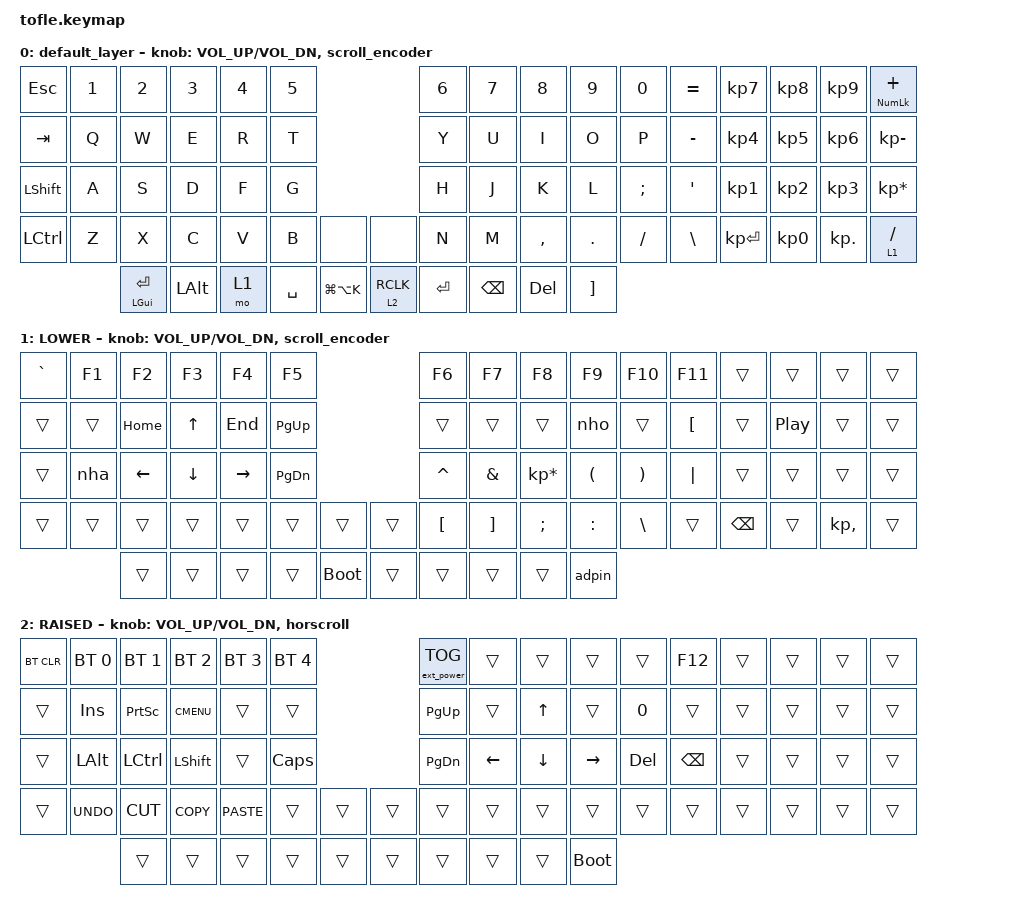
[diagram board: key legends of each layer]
/*
 * Copyright (c) 2020 The ZMK Contributors
 *
 * SPDX-License-Identifier: MIT
 */

#include <behaviors/mouse_keys.dtsi>
#include <behaviors.dtsi>
#include <dt-bindings/zmk/bt.h>
#include <dt-bindings/zmk/ext_power.h>
#include <dt-bindings/zmk/keys.h>
#include <dt-bindings/zmk/mouse.h>

#define DEF 0;
#define UPE 1;
#define MSC 2;
#define ZMK_MOUSE_DEFAULT_SCRL_VAL 5

&left_encoder { steps = <48>; };

&right_encoder { steps = <48>; };

&sensors { triggers-per-rotation = <12>; };

&msc { acceleration-exponent = <1>; };

/ {
    macros {
        nha: nha {
            compatible = "zmk,behavior-macro";
            label = "NHA";
            #binding-cells = <0>;
            bindings = <&kp TILDE &kp A>;
        };

        nho: nho {
            compatible = "zmk,behavior-macro";
            label = "NHO";
            #binding-cells = <0>;
            bindings = <&kp TILDE &kp O>;
        };

        adpin: adpin {
            compatible = "zmk,behavior-macro";
            label = "ADPIN";
            #binding-cells = <0>;
            bindings = <&kp N7 &kp N9 &kp N4 &kp N5 &kp N1 &kp N7>;
        };
    };

    behaviors {
        scroll_encoder: scroll_encoder {
            label = "SCROLL_ENCODER";
            compatible = "zmk,behavior-sensor-rotate";
            #sensor-binding-cells = <0>;
            bindings = <&msc MOVE_UP>, <&msc MOVE_DOWN>;

            tap-ms = <50>;
        };

        rc_lt: right_click_layer_tap {
            compatible = "zmk,behavior-hold-tap";
            #binding-cells = <2>;
            flavor = "hold-preferred";
            tapping-term-ms = <200>;
            bindings = <&mo>, <&mkp>;
        };

        horscroll: horscroll {
            compatible = "zmk,behavior-sensor-rotate";
            label = "HORSCROLL";
            #sensor-binding-cells = <0>;
            bindings = <&msc MOVE_LEFT>, <&msc MOVE_RIGHT>;

            tap-ms = <50>;
        };
    };

    keymap {
        compatible = "zmk,keymap";
        display-name = "DEFAULT";

        default_layer {
            // ------------------------------------------------------------------------------------------------------------
            // |  `    |  1  |  2  |  3   |  4   |  5   |                   |  6   |  7    |  8    |  9   |   0   |       |
            // |  ESC  |  Q  |  W  |  E   |  R   |  T   |                   |  Y   |  U    |  I    |  O   |   P   | BKSPC |
            // |  TAB  |  A  |  S  |  D   |  F   |  G   |                   |  H   |  J    |  K    |  L   |   ;   |   '   |
            // | SHIFT |  Z  |  X  |  C   |  V   |  B   |  MUTE  |  |       |  N   |  M    |  ,    |  .   |   /   | SHIFT |
            //               | GUI | ALT  | CTRL | LOWER|  ENTER |  | SPACE | RAISE| CTRL  | ALT   | GUI  |

            bindings = <
&kp ESC     &kp N1  &kp N2        &kp N3    &kp N4  &kp N5                                   &kp N6   &kp N7         &kp N8     &kp N9             &kp N0    &kp EQUAL      &kp KP_N7     &kp KP_N8  &kp KP_N9        &mt KP_NUMLOCK PLUS
&kp TAB     &kp Q   &kp W         &kp E     &kp R   &kp T                                    &kp Y    &kp U          &kp I      &kp O              &kp P     &kp MINUS      &kp KP_N4     &kp KP_N5  &kp KP_NUMBER_6  &kp KP_MINUS
&kp LSHIFT  &kp A   &kp S         &kp D     &kp F   &kp G                                    &kp H    &kp J          &kp K      &kp L              &kp SEMI  &kp SQT        &kp KP_N1     &kp KP_N2  &kp KP_N3        &kp KP_MULTIPLY
&kp LCTRL   &kp Z   &kp X         &kp C     &kp V   &kp B      &none          &none          &kp N    &kp M          &kp COMMA  &kp DOT            &kp FSLH  &kp BACKSLASH  &kp KP_ENTER  &kp KP_N0  &kp KP_DOT       &lt 1 FSLH
                    &mt LGUI RET  &kp LALT  &mo 1   &kp SPACE  &kp LG(LA(K))  &rc_lt 2 RCLK  &kp RET  &kp BACKSPACE  &kp DEL    &kp RIGHT_BRACKET
            >;

            sensor-bindings = <&inc_dec_kp C_VOL_UP C_VOL_DN &scroll_encoder>;
        };

        lower_layer {
            display-name = "LOWER";

            // TODO: Some binds are waiting for shifted keycode support.
            // ------------------------------------------------------------------------------------------------------------
            // |       |  F1 |  F2 |  F3  |  F4  |  F5  |                   |  F6  |  F7   |  F8   |  F9  |  F10  |  F11  |
            // | `     |   1 |   2 |   3  |   4  |   5  |                   |   6  |   7   |   8   |   9  |    0  |  F12  |
            // |       |  !  |  @  |  #   |  $   |  %   |                   |  ^   |  &    |  *    |  (   |   )   |   |   |
            // |       |  =  |  -  |  +   |  {   |  }   |        |  |       |  [   |  ]    |  ;    |  :   |   \   |       |
            //               |     |      |      |      |        |  |       |      |       |       |      |

            bindings = <
&kp GRAVE  &kp F1  &kp F2    &kp F3    &kp F4     &kp F5                              &kp F6     &kp F7    &kp F8           &kp F9     &kp F10   &kp F11           &trans         &trans            &trans        &trans
&trans     &trans  &kp HOME  &kp UP    &kp END    &kp PAGE_UP                         &trans     &trans    &trans           &nho       &trans    &kp LEFT_BRACKET  &trans         &kp C_PLAY_PAUSE  &trans        &trans
&trans     &nha    &kp LEFT  &kp DOWN  &kp RIGHT  &kp PAGE_DOWN                       &kp CARET  &kp AMPS  &kp KP_MULTIPLY  &kp LPAR   &kp RPAR  &kp PIPE          &trans         &trans            &trans        &trans
&trans     &trans  &trans    &trans    &trans     &trans         &trans       &trans  &kp LBKT   &kp RBKT  &kp SEMI         &kp COLON  &kp BSLH  &trans            &kp BACKSPACE  &trans            &kp KP_COMMA  &trans
                   &trans    &trans    &trans     &trans         &bootloader  &trans  &trans     &trans    &trans           &adpin
            >;

            sensor-bindings = <&inc_dec_kp C_VOL_UP C_VOL_DN &scroll_encoder>;
        };

        raise_layer {
            display-name = "RAISED";

            // ------------------------------------------------------------------------------------------------------------
            // |BTCLR| BT1  | BT2  |  BT3  |  BT4  |  BT5 |                |      |      |       |      |       |       |
            // |     | INS  | PSCR | GUI   |       |      |                | PGUP |      |   ^   |      |       |       |
            // |     | ALT  | CTRL | SHIFT |       | CAPS |                | PGDN |   <- |   v   |  ->  |  DEL  | BKSPC |
            // |     | UNDO | CUT  | COPY  | PASTE |      |      |  |      |      |      |       |      |       |       |
            //              |      |       |       |      |      |  |      |      |      |       |      |

            bindings = <
&bt BT_CLR  &bt BT_SEL 0  &bt BT_SEL 1  &bt BT_SEL 2  &bt BT_SEL 3  &bt BT_SEL 4                  &ext_power EP_TOG  &trans    &trans    &trans       &trans   &kp F12   &trans  &trans  &trans  &trans
&trans      &kp INS       &kp PSCRN     &kp K_CMENU   &trans        &trans                        &kp PG_UP          &trans    &kp UP    &trans       &kp N0   &trans    &trans  &trans  &trans  &trans
&trans      &kp LALT      &kp LCTRL     &kp LSHFT     &trans        &kp CLCK                      &kp PG_DN          &kp LEFT  &kp DOWN  &kp RIGHT    &kp DEL  &kp BSPC  &trans  &trans  &trans  &trans
&trans      &kp K_UNDO    &kp K_CUT     &kp K_COPY    &kp K_PASTE   &trans        &trans  &trans  &trans             &trans    &trans    &trans       &trans   &trans    &trans  &trans  &trans  &trans
                          &trans        &trans        &trans        &trans        &trans  &trans  &trans             &trans    &trans    &bootloader
            >;

            sensor-bindings = <&inc_dec_kp C_VOL_UP C_VOL_DN>, <&horscroll>;
        };
    };
};
